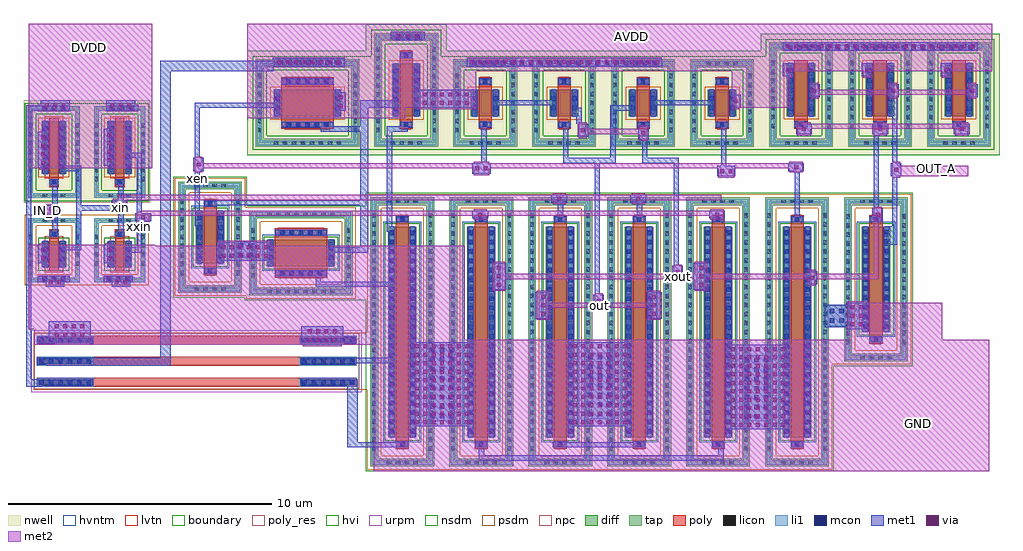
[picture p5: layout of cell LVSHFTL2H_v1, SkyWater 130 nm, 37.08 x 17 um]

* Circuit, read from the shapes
.subckt LVSHFTL2H_v1 AVDD DVDD GND IN_D OUT_A out xen xin xout xxin
XM1 xin IN_D GND GND sky130_fd_pr__nfet_01v8_lvt w=1 l=0.35
XM2 xxin xin GND GND sky130_fd_pr__nfet_01v8_lvt w=1 l=0.35
XM3 GND n1 xen GND sky130_fd_pr__nfet_g5v0d10v5 w=2 l=0.5
XM4 n1 n2 GND GND sky130_fd_pr__nfet_g5v0d10v5 w=1 l=2
XM5 GND n3 n2 GND sky130_fd_pr__nfet_g5v0d10v5 w=8 l=0.5
XM6 xout xxin GND GND sky130_fd_pr__nfet_g5v0d10v5 w=8 l=0.5 m=2
XM7 GND xin out GND sky130_fd_pr__nfet_g5v0d10v5 w=8 l=0.5 m=2
XM8 xout xen GND GND sky130_fd_pr__nfet_g5v0d10v5 w=8 l=0.5
XM9 OUT_A xout GND GND sky130_fd_pr__nfet_g5v0d10v5 w=4 l=0.5
XM10 xin IN_D DVDD DVDD sky130_fd_pr__pfet_01v8_lvt w=2 l=0.35
XM11 xxin xin DVDD DVDD sky130_fd_pr__pfet_01v8_lvt w=2 l=0.35
XM12 AVDD n1 xen AVDD sky130_fd_pr__pfet_g5v0d10v5 w=1 l=2
XM13 AVDD n2 n1 AVDD sky130_fd_pr__pfet_g5v0d10v5 w=2 l=0.5
XM14 n4 xen AVDD AVDD sky130_fd_pr__pfet_g5v0d10v5 w=1 l=0.5
XM15 xout out n4 AVDD sky130_fd_pr__pfet_g5v0d10v5 w=1 l=0.5
XM16 n5 xout out AVDD sky130_fd_pr__pfet_g5v0d10v5 w=1 l=0.5
XM17 AVDD xen n5 AVDD sky130_fd_pr__pfet_g5v0d10v5 w=1 l=0.5
XM18 OUT_A xout AVDD AVDD sky130_fd_pr__pfet_g5v0d10v5 w=2 l=0.5 m=3
XR19 n3 DVDD GND sky130_fd_pr__res_xhigh_po w=0.35 l=7.88
XR20 n2 AVDD GND sky130_fd_pr__res_xhigh_po w=0.35 l=7.88
XR21 GND GND GND sky130_fd_pr__res_xhigh_po w=0.35 l=7.88
.ends

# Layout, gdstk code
from math import pi, radians
import gdstk
lib = gdstk.Library(unit=1e-6, precision=1e-09)
def R(c, l, rs):  # rectangles x0, y0, x1, y1
    for r in rs: c.add(gdstk.rectangle(r[:2], r[2:], *l))
def A(c, l, x, y, w, h, nx, ny, dx, dy):  # array of equal rectangles
    R(c, l, [(x+i*dx, y+j*dy, x+i*dx+w, y+j*dy+h) for i in range(nx) for j in range(ny)])
nwell = (64, 20)
diff = (65, 20)
tap = (65, 44)
poly_res = (66, 13)
poly = (66, 20)
licon = (66, 44)
li1 = (67, 20)
mcon = (67, 44)
met1 = (68, 20)
via = (68, 44)
met2 = (69, 20)
hvi = (75, 20)
urpm = (79, 20)
nsdm = (93, 44)
psdm = (94, 20)
npc = (95, 20)
hvntm = (125, 20)
lvtn = (125, 44)
boundary = (235, 4)

sky130_fd_pr__res_xhigh_ = lib.new_cell('sky130_fd_pr__res_xhigh_po_0p35_RZVHSL')
R(sky130_fd_pr__res_xhigh_, poly_res, [(-0.175,-4,0.175,4)])
R(sky130_fd_pr__res_xhigh_, poly, [(-0.175,-6.08,0.175,6.08)])
R(sky130_fd_pr__res_xhigh_, licon, [(-0.095,-6,0.095,-4), (-0.095,4,0.095,6)])
R(sky130_fd_pr__res_xhigh_, li1, [(-0.175,-6.08,0.175,-3.92), (-0.175,3.92,0.175,6.08)])
A(sky130_fd_pr__res_xhigh_, mcon, -0.085, -5.985, 0.17, 0.17, 1, 6, 0, 0.36)
A(sky130_fd_pr__res_xhigh_, mcon, -0.085, 4.01, 0.17, 0.17, 1, 6, 0, 0.36)
R(sky130_fd_pr__res_xhigh_, met1, [(-0.125,-6.05,0.125,-3.945), (-0.125,3.945,0.125,6.05)])
R(sky130_fd_pr__res_xhigh_, urpm, [(-0.375,-6.28,0.375,6.28)])
R(sky130_fd_pr__res_xhigh_, psdm, [(-0.285,-6.19,0.285,6.19)])
R(sky130_fd_pr__res_xhigh_, npc, [(-0.27,-6.175,0.27,6.175)])

sky130_fd_pr__nfet_01v8_ = lib.new_cell('sky130_fd_pr__nfet_01v8_lvt_6LA82X')
R(sky130_fd_pr__nfet_01v8_, diff, [(-0.465,-0.655,0.465,0.345)])
R(sky130_fd_pr__nfet_01v8_, tap, [(-0.975,-1.215,0.975,-1.045), (-0.975,-1.045,-0.805,1.045), (0.805,-1.045,0.975,1.045), (-0.975,1.045,0.975,1.215)])
R(sky130_fd_pr__nfet_01v8_, poly, [(-0.175,-0.785,0.175,0.785)])
A(sky130_fd_pr__nfet_01v8_, licon, -0.425, -1.215, 0.17, 0.17, 3, 2, 0.34, 2.26)
A(sky130_fd_pr__nfet_01v8_, licon, -0.975, -0.595, 0.17, 0.17, 1, 4, 0, 0.34)
A(sky130_fd_pr__nfet_01v8_, licon, 0.805, -0.595, 0.17, 0.17, 1, 4, 0, 0.34)
A(sky130_fd_pr__nfet_01v8_, licon, -0.405, -0.58, 0.17, 0.17, 1, 3, 0, 0.34)
A(sky130_fd_pr__nfet_01v8_, licon, 0.235, -0.58, 0.17, 0.17, 1, 3, 0, 0.34)
R(sky130_fd_pr__nfet_01v8_, licon, [(-0.085,0.535,0.085,0.705)])
R(sky130_fd_pr__nfet_01v8_, li1, [(-0.975,-1.215,0.975,-1.045), (-0.975,-1.045,-0.805,1.045), (0.805,-1.045,0.975,1.045), (-0.405,-0.675,-0.235,0.365), (0.235,-0.675,0.405,0.365), (-0.175,0.535,0.175,0.705), (-0.975,1.045,0.975,1.215)])
R(sky130_fd_pr__nfet_01v8_, mcon, [(-0.405,-0.42,-0.235,-0.25), (0.235,-0.42,0.405,-0.25), (-0.405,-0.06,-0.235,0.11), (0.235,-0.06,0.405,0.11), (-0.085,0.535,0.085,0.705)])
R(sky130_fd_pr__nfet_01v8_, met1, [(-0.435,-0.655,-0.205,0.345), (0.205,-0.655,0.435,0.345), (-0.155,0.505,0.155,0.735)])
R(sky130_fd_pr__nfet_01v8_, nsdm, [(-0.59,-0.78,0.59,0.47)])
R(sky130_fd_pr__nfet_01v8_, psdm, [(-1.1,-1.34,1.1,-0.92), (-1.1,-0.92,-0.68,0.92), (0.68,-0.92,1.1,0.92), (-1.1,0.92,1.1,1.34)])
R(sky130_fd_pr__nfet_01v8_, npc, [(-0.185,0.435,0.185,0.805)])
R(sky130_fd_pr__nfet_01v8_, lvtn, [(-0.355,-0.835,0.355,0.525)])
R(sky130_fd_pr__nfet_01v8_, boundary, [(-0.89,-1.13,0.89,1.13)])

sky130_fd_pr__nfet_g5v0d = lib.new_cell('sky130_fd_pr__nfet_g5v0d10v5_WSEQJ8')
R(sky130_fd_pr__nfet_g5v0d, diff, [(-0.54,-1,0.54,1)])
R(sky130_fd_pr__nfet_g5v0d, tap, [(-1.21,-2.11,1.21,-1.82), (-1.21,-1.82,-0.92,1.82), (0.92,-1.82,1.21,1.82), (-1.21,1.82,1.21,2.11)])
R(sky130_fd_pr__nfet_g5v0d, poly, [(-0.25,-1.44,0.25,1.44)])
A(sky130_fd_pr__nfet_g5v0d, licon, -0.595, -2.05, 0.17, 0.17, 4, 2, 0.34, 3.93)
A(sky130_fd_pr__nfet_g5v0d, licon, -1.15, -1.445, 0.17, 0.17, 1, 9, 0, 0.34)
A(sky130_fd_pr__nfet_g5v0d, licon, 0.98, -1.445, 0.17, 0.17, 1, 9, 0, 0.34)
A(sky130_fd_pr__nfet_g5v0d, licon, -0.48, -0.935, 0.17, 0.17, 1, 6, 0, 0.34)
A(sky130_fd_pr__nfet_g5v0d, licon, 0.31, -0.935, 0.17, 0.17, 1, 6, 0, 0.34)
R(sky130_fd_pr__nfet_g5v0d, licon, [(-0.085,-1.36,0.085,-1.19), (-0.085,1.19,0.085,1.36)])
R(sky130_fd_pr__nfet_g5v0d, li1, [(-1.15,-2.05,1.15,-1.88), (-1.15,-1.88,-0.98,1.88), (0.98,-1.88,1.15,1.88), (-0.25,-1.36,0.25,-1.19), (-0.48,-1.02,-0.31,1.02), (0.31,-1.02,0.48,1.02), (-0.25,1.19,0.25,1.36), (-1.15,1.88,1.15,2.05)])
A(sky130_fd_pr__nfet_g5v0d, mcon, -0.48, -0.805, 0.17, 0.17, 1, 5, 0, 0.36)
A(sky130_fd_pr__nfet_g5v0d, mcon, 0.31, -0.805, 0.17, 0.17, 1, 5, 0, 0.36)
R(sky130_fd_pr__nfet_g5v0d, mcon, [(-0.085,-1.36,0.085,-1.19), (-0.085,1.19,0.085,1.36)])
R(sky130_fd_pr__nfet_g5v0d, met1, [(-0.23,-1.39,0.23,-1.16), (-0.51,-1,-0.28,1), (0.28,-1,0.51,1), (-0.23,1.16,0.23,1.39)])
R(sky130_fd_pr__nfet_g5v0d, hvi, [(-1.395,-2.295,1.395,2.295)])
R(sky130_fd_pr__nfet_g5v0d, nsdm, [(-0.665,-1.125,0.665,1.125)])
R(sky130_fd_pr__nfet_g5v0d, psdm, [(-1.335,-2.235,1.335,-1.695), (-1.335,-1.695,-0.795,1.695), (0.795,-1.695,1.335,1.695), (-1.335,1.695,1.335,2.235)])
R(sky130_fd_pr__nfet_g5v0d, npc, [(-0.185,-1.46,0.185,-1.09), (-0.185,1.09,0.185,1.46)])
R(sky130_fd_pr__nfet_g5v0d, hvntm, [(-0.725,-1.185,0.725,1.185)])
R(sky130_fd_pr__nfet_g5v0d, boundary, [(-1.06,-1.96,1.06,1.96)])

c_sky130_fd_pr__nfet_g5v0d = lib.new_cell('sky130_fd_pr__nfet_g5v0d10v5_69F5UN')
R(c_sky130_fd_pr__nfet_g5v0d, diff, [(-1.29,-0.5,1.29,0.5)])
R(c_sky130_fd_pr__nfet_g5v0d, tap, [(-1.96,-1.61,1.96,-1.32), (-1.96,-1.32,-1.67,1.32), (1.67,-1.32,1.96,1.32), (-1.96,1.32,1.96,1.61)])
R(c_sky130_fd_pr__nfet_g5v0d, poly, [(-1,-0.94,1,0.94)])
A(c_sky130_fd_pr__nfet_g5v0d, licon, -1.275, -1.55, 0.17, 0.17, 8, 2, 0.34, 2.93)
A(c_sky130_fd_pr__nfet_g5v0d, licon, -1.9, -0.935, 0.17, 0.17, 1, 6, 0, 0.34)
A(c_sky130_fd_pr__nfet_g5v0d, licon, 1.73, -0.935, 0.17, 0.17, 1, 6, 0, 0.34)
A(c_sky130_fd_pr__nfet_g5v0d, licon, -0.765, -0.86, 0.17, 0.17, 5, 2, 0.34, 1.55)
A(c_sky130_fd_pr__nfet_g5v0d, licon, -1.23, -0.425, 0.17, 0.17, 1, 3, 0, 0.34)
A(c_sky130_fd_pr__nfet_g5v0d, licon, 1.06, -0.425, 0.17, 0.17, 1, 3, 0, 0.34)
R(c_sky130_fd_pr__nfet_g5v0d, li1, [(-1.9,-1.55,1.9,-1.38), (-1.9,-1.38,-1.73,1.38), (1.73,-1.38,1.9,1.38), (-1,-0.86,1,-0.69), (-1.23,-0.52,-1.06,0.52), (1.06,-0.52,1.23,0.52), (-1,0.69,1,0.86), (-1.9,1.38,1.9,1.55)])
A(c_sky130_fd_pr__nfet_g5v0d, mcon, -0.805, -0.86, 0.17, 0.17, 5, 2, 0.36, 1.55)
R(c_sky130_fd_pr__nfet_g5v0d, mcon, [(-1.23,-0.265,-1.06,-0.095), (1.06,-0.265,1.23,-0.095), (-1.23,0.095,-1.06,0.265), (1.06,0.095,1.23,0.265)])
R(c_sky130_fd_pr__nfet_g5v0d, met1, [(-0.98,-0.89,0.98,-0.66), (-1.26,-0.5,-1.03,0.5), (1.03,-0.5,1.26,0.5), (-0.98,0.66,0.98,0.89)])
R(c_sky130_fd_pr__nfet_g5v0d, hvi, [(-2.145,-1.795,2.145,1.795)])
R(c_sky130_fd_pr__nfet_g5v0d, nsdm, [(-1.415,-0.625,1.415,0.625)])
R(c_sky130_fd_pr__nfet_g5v0d, psdm, [(-2.085,-1.735,2.085,-1.195), (-2.085,-1.195,-1.545,1.195), (1.545,-1.195,2.085,1.195), (-2.085,1.195,2.085,1.735)])
R(c_sky130_fd_pr__nfet_g5v0d, npc, [(-0.865,-0.96,0.865,-0.59), (-0.865,0.59,0.865,0.96)])
R(c_sky130_fd_pr__nfet_g5v0d, hvntm, [(-1.475,-0.685,1.475,0.685)])
R(c_sky130_fd_pr__nfet_g5v0d, boundary, [(-1.81,-1.46,1.81,1.46)])

sky130_fd_pr__pfet_01v8_ = lib.new_cell('sky130_fd_pr__pfet_01v8_lvt_73FWD3')
R(sky130_fd_pr__pfet_01v8_, nwell, [(-1.155,-1.92,1.155,1.92)])
R(sky130_fd_pr__pfet_01v8_, diff, [(-0.465,-0.82,0.465,1.18)])
R(sky130_fd_pr__pfet_01v8_, tap, [(-0.975,-1.74,0.975,-1.57), (-0.975,-1.57,-0.805,1.57), (0.805,-1.57,0.975,1.57), (-0.975,1.57,0.975,1.74)])
R(sky130_fd_pr__pfet_01v8_, poly, [(-0.175,-1.305,0.175,1.31)])
A(sky130_fd_pr__pfet_01v8_, licon, -0.425, -1.74, 0.17, 0.17, 3, 2, 0.34, 3.31)
A(sky130_fd_pr__pfet_01v8_, licon, -0.975, -1.105, 0.17, 0.17, 1, 7, 0, 0.34)
A(sky130_fd_pr__pfet_01v8_, licon, 0.805, -1.105, 0.17, 0.17, 1, 7, 0, 0.34)
A(sky130_fd_pr__pfet_01v8_, licon, -0.405, -0.755, 0.17, 0.17, 1, 6, 0, 0.34)
A(sky130_fd_pr__pfet_01v8_, licon, 0.235, -0.755, 0.17, 0.17, 1, 6, 0, 0.34)
R(sky130_fd_pr__pfet_01v8_, licon, [(-0.085,-1.225,0.085,-1.055)])
R(sky130_fd_pr__pfet_01v8_, li1, [(-0.975,-1.74,0.975,-1.57), (-0.975,-1.57,-0.805,1.57), (0.805,-1.57,0.975,1.57), (-0.175,-1.225,0.175,-1.055), (-0.405,-0.84,-0.235,1.2), (0.235,-0.84,0.405,1.2), (-0.975,1.57,0.975,1.74)])
A(sky130_fd_pr__pfet_01v8_, mcon, -0.405, -0.625, 0.17, 0.17, 1, 5, 0, 0.36)
A(sky130_fd_pr__pfet_01v8_, mcon, 0.235, -0.625, 0.17, 0.17, 1, 5, 0, 0.36)
R(sky130_fd_pr__pfet_01v8_, mcon, [(-0.085,-1.225,0.085,-1.055)])
R(sky130_fd_pr__pfet_01v8_, met1, [(-0.155,-1.255,0.155,-1.025), (-0.435,-0.82,-0.205,1.18), (0.205,-0.82,0.435,1.18)])
R(sky130_fd_pr__pfet_01v8_, nsdm, [(-1.1,-1.865,1.1,-1.445), (-1.1,-1.445,-0.68,1.445), (0.68,-1.445,1.1,1.445), (-1.1,1.445,1.1,1.865)])
R(sky130_fd_pr__pfet_01v8_, psdm, [(-0.59,-0.945,0.59,1.305)])
R(sky130_fd_pr__pfet_01v8_, npc, [(-0.185,-1.325,0.185,-0.955)])
R(sky130_fd_pr__pfet_01v8_, lvtn, [(-0.355,-1,0.355,1.36)])
R(sky130_fd_pr__pfet_01v8_, boundary, [(-0.89,-1.655,0.89,1.655)])

sky130_fd_pr__pfet_g5v0d = lib.new_cell('sky130_fd_pr__pfet_g5v0d10v5_47NWVV')
R(sky130_fd_pr__pfet_g5v0d, nwell, [(-2.29,-1.985,2.29,1.985)])
R(sky130_fd_pr__pfet_g5v0d, diff, [(-1.29,-0.5,1.29,0.5)])
R(sky130_fd_pr__pfet_g5v0d, tap, [(-1.96,-1.655,1.96,-1.365), (-1.96,-1.365,-1.67,1.365), (1.67,-1.365,1.96,1.365), (-1.96,1.365,1.96,1.655)])
R(sky130_fd_pr__pfet_g5v0d, poly, [(-1,-0.985,1,0.985)])
A(sky130_fd_pr__pfet_g5v0d, licon, -1.275, -1.595, 0.17, 0.17, 8, 2, 0.34, 3.02)
A(sky130_fd_pr__pfet_g5v0d, licon, -1.9, -1.105, 0.17, 0.17, 1, 7, 0, 0.34)
A(sky130_fd_pr__pfet_g5v0d, licon, 1.73, -1.105, 0.17, 0.17, 1, 7, 0, 0.34)
A(sky130_fd_pr__pfet_g5v0d, licon, -0.765, -0.905, 0.17, 0.17, 5, 2, 0.34, 1.64)
A(sky130_fd_pr__pfet_g5v0d, licon, -1.23, -0.425, 0.17, 0.17, 1, 3, 0, 0.34)
A(sky130_fd_pr__pfet_g5v0d, licon, 1.06, -0.425, 0.17, 0.17, 1, 3, 0, 0.34)
R(sky130_fd_pr__pfet_g5v0d, li1, [(-1.9,-1.595,1.9,-1.425), (-1.9,-1.425,-1.73,1.425), (1.73,-1.425,1.9,1.425), (-1,-0.905,1,-0.735), (-1.23,-0.52,-1.06,0.52), (1.06,-0.52,1.23,0.52), (-1,0.735,1,0.905), (-1.9,1.425,1.9,1.595)])
A(sky130_fd_pr__pfet_g5v0d, mcon, -0.805, -0.905, 0.17, 0.17, 5, 2, 0.36, 1.64)
R(sky130_fd_pr__pfet_g5v0d, mcon, [(-1.23,-0.265,-1.06,-0.095), (1.06,-0.265,1.23,-0.095), (-1.23,0.095,-1.06,0.265), (1.06,0.095,1.23,0.265)])
R(sky130_fd_pr__pfet_g5v0d, met1, [(-0.98,-0.935,0.98,-0.705), (-1.26,-0.5,-1.03,0.5), (1.03,-0.5,1.26,0.5), (-0.98,0.705,0.98,0.935)])
R(sky130_fd_pr__pfet_g5v0d, hvi, [(-2.29,-1.985,2.29,1.985)])
R(sky130_fd_pr__pfet_g5v0d, nsdm, [(-2.085,-1.78,2.085,-1.24), (-2.085,-1.24,-1.545,1.24), (1.545,-1.24,2.085,1.24), (-2.085,1.24,2.085,1.78)])
R(sky130_fd_pr__pfet_g5v0d, psdm, [(-1.415,-0.625,1.415,0.625)])
R(sky130_fd_pr__pfet_g5v0d, npc, [(-0.865,-1.005,0.865,-0.635), (-0.865,0.635,0.865,1.005)])
R(sky130_fd_pr__pfet_g5v0d, boundary, [(-1.815,-1.51,1.815,1.51)])

c_sky130_fd_pr__nfet_g5v0d_ = lib.new_cell('sky130_fd_pr__nfet_g5v0d10v5_YNEQJ5')
R(c_sky130_fd_pr__nfet_g5v0d_, diff, [(-0.54,-4,0.54,4)])
R(c_sky130_fd_pr__nfet_g5v0d_, tap, [(-1.21,-5.11,1.21,-4.82), (-1.21,-4.82,-0.92,4.82), (0.92,-4.82,1.21,4.82), (-1.21,4.82,1.21,5.11)])
R(c_sky130_fd_pr__nfet_g5v0d_, poly, [(-0.25,-4.44,0.25,4.44)])
A(c_sky130_fd_pr__nfet_g5v0d_, licon, -0.595, -5.05, 0.17, 0.17, 4, 2, 0.34, 9.93)
A(c_sky130_fd_pr__nfet_g5v0d_, licon, -1.15, -4.505, 0.17, 0.17, 1, 27, 0, 0.34)
A(c_sky130_fd_pr__nfet_g5v0d_, licon, 0.98, -4.505, 0.17, 0.17, 1, 27, 0, 0.34)
A(c_sky130_fd_pr__nfet_g5v0d_, licon, -0.48, -3.825, 0.17, 0.17, 1, 23, 0, 0.34)
A(c_sky130_fd_pr__nfet_g5v0d_, licon, 0.31, -3.825, 0.17, 0.17, 1, 23, 0, 0.34)
R(c_sky130_fd_pr__nfet_g5v0d_, licon, [(-0.085,-4.36,0.085,-4.19), (-0.085,4.19,0.085,4.36)])
R(c_sky130_fd_pr__nfet_g5v0d_, li1, [(-1.15,-5.05,1.15,-4.88), (-1.15,-4.88,-0.98,4.88), (0.98,-4.88,1.15,4.88), (-0.25,-4.36,0.25,-4.19), (-0.48,-4.02,-0.31,4.02), (0.31,-4.02,0.48,4.02), (-0.25,4.19,0.25,4.36), (-1.15,4.88,1.15,5.05)])
A(c_sky130_fd_pr__nfet_g5v0d_, mcon, -0.48, -3.865, 0.17, 0.17, 1, 22, 0, 0.36)
A(c_sky130_fd_pr__nfet_g5v0d_, mcon, 0.31, -3.865, 0.17, 0.17, 1, 22, 0, 0.36)
R(c_sky130_fd_pr__nfet_g5v0d_, mcon, [(-0.085,-4.36,0.085,-4.19), (-0.085,4.19,0.085,4.36)])
R(c_sky130_fd_pr__nfet_g5v0d_, met1, [(-0.23,-4.39,0.23,-4.16), (-0.51,-4,-0.28,4), (0.28,-4,0.51,4), (-0.23,4.16,0.23,4.39)])
R(c_sky130_fd_pr__nfet_g5v0d_, hvi, [(-1.395,-5.295,1.395,5.295)])
R(c_sky130_fd_pr__nfet_g5v0d_, nsdm, [(-0.665,-4.125,0.665,4.125)])
R(c_sky130_fd_pr__nfet_g5v0d_, psdm, [(-1.335,-5.235,1.335,-4.695), (-1.335,-4.695,-0.795,4.695), (0.795,-4.695,1.335,4.695), (-1.335,4.695,1.335,5.235)])
R(c_sky130_fd_pr__nfet_g5v0d_, npc, [(-0.185,-4.46,0.185,-4.09), (-0.185,4.09,0.185,4.46)])
R(c_sky130_fd_pr__nfet_g5v0d_, hvntm, [(-0.725,-4.185,0.725,4.185)])
R(c_sky130_fd_pr__nfet_g5v0d_, boundary, [(-1.06,-4.96,1.06,4.96)])

c_sky130_fd_pr__pfet_g5v0d = lib.new_cell('sky130_fd_pr__pfet_g5v0d10v5_KLD8Y6')
R(c_sky130_fd_pr__pfet_g5v0d, nwell, [(-1.54,-2.485,1.54,2.485)])
R(c_sky130_fd_pr__pfet_g5v0d, diff, [(-0.54,-1,0.54,1)])
R(c_sky130_fd_pr__pfet_g5v0d, tap, [(-1.21,-2.155,1.21,-1.865), (-1.21,-1.865,-0.92,1.865), (0.92,-1.865,1.21,1.865), (-1.21,1.865,1.21,2.155)])
R(c_sky130_fd_pr__pfet_g5v0d, poly, [(-0.25,-1.485,0.25,1.485)])
A(c_sky130_fd_pr__pfet_g5v0d, licon, -0.595, -2.095, 0.17, 0.17, 4, 2, 0.34, 4.02)
A(c_sky130_fd_pr__pfet_g5v0d, licon, -1.15, -1.615, 0.17, 0.17, 1, 10, 0, 0.34)
A(c_sky130_fd_pr__pfet_g5v0d, licon, 0.98, -1.615, 0.17, 0.17, 1, 10, 0, 0.34)
A(c_sky130_fd_pr__pfet_g5v0d, licon, -0.48, -0.935, 0.17, 0.17, 1, 6, 0, 0.34)
A(c_sky130_fd_pr__pfet_g5v0d, licon, 0.31, -0.935, 0.17, 0.17, 1, 6, 0, 0.34)
R(c_sky130_fd_pr__pfet_g5v0d, licon, [(-0.085,-1.405,0.085,-1.235), (-0.085,1.235,0.085,1.405)])
R(c_sky130_fd_pr__pfet_g5v0d, li1, [(-1.15,-2.095,1.15,-1.925), (-1.15,-1.925,-0.98,1.925), (0.98,-1.925,1.15,1.925), (-0.25,-1.405,0.25,-1.235), (-0.48,-1.02,-0.31,1.02), (0.31,-1.02,0.48,1.02), (-0.25,1.235,0.25,1.405), (-1.15,1.925,1.15,2.095)])
A(c_sky130_fd_pr__pfet_g5v0d, mcon, -0.48, -0.805, 0.17, 0.17, 1, 5, 0, 0.36)
A(c_sky130_fd_pr__pfet_g5v0d, mcon, 0.31, -0.805, 0.17, 0.17, 1, 5, 0, 0.36)
R(c_sky130_fd_pr__pfet_g5v0d, mcon, [(-0.085,-1.405,0.085,-1.235), (-0.085,1.235,0.085,1.405)])
R(c_sky130_fd_pr__pfet_g5v0d, met1, [(-0.23,-1.435,0.23,-1.205), (-0.51,-1,-0.28,1), (0.28,-1,0.51,1), (-0.23,1.205,0.23,1.435)])
R(c_sky130_fd_pr__pfet_g5v0d, hvi, [(-1.54,-2.485,1.54,2.485)])
R(c_sky130_fd_pr__pfet_g5v0d, nsdm, [(-1.335,-2.28,1.335,-1.74), (-1.335,-1.74,-0.795,1.74), (0.795,-1.74,1.335,1.74), (-1.335,1.74,1.335,2.28)])
R(c_sky130_fd_pr__pfet_g5v0d, psdm, [(-0.665,-1.125,0.665,1.125)])
R(c_sky130_fd_pr__pfet_g5v0d, npc, [(-0.185,-1.505,0.185,-1.135), (-0.185,1.135,0.185,1.505)])
R(c_sky130_fd_pr__pfet_g5v0d, boundary, [(-1.065,-2.01,1.065,2.01)])

c_sky130_fd_pr__pfet_g5v0d_ = lib.new_cell('sky130_fd_pr__pfet_g5v0d10v5_KLAZY6')
R(c_sky130_fd_pr__pfet_g5v0d_, nwell, [(-1.54,-1.985,1.54,1.985)])
R(c_sky130_fd_pr__pfet_g5v0d_, diff, [(-0.54,-0.5,0.54,0.5)])
R(c_sky130_fd_pr__pfet_g5v0d_, tap, [(-1.21,-1.655,1.21,-1.365), (-1.21,-1.365,-0.92,1.365), (0.92,-1.365,1.21,1.365), (-1.21,1.365,1.21,1.655)])
R(c_sky130_fd_pr__pfet_g5v0d_, poly, [(-0.25,-0.985,0.25,0.985)])
A(c_sky130_fd_pr__pfet_g5v0d_, licon, -0.595, -1.595, 0.17, 0.17, 4, 2, 0.34, 3.02)
A(c_sky130_fd_pr__pfet_g5v0d_, licon, -1.15, -1.105, 0.17, 0.17, 1, 7, 0, 0.34)
A(c_sky130_fd_pr__pfet_g5v0d_, licon, 0.98, -1.105, 0.17, 0.17, 1, 7, 0, 0.34)
A(c_sky130_fd_pr__pfet_g5v0d_, licon, -0.48, -0.425, 0.17, 0.17, 1, 3, 0, 0.34)
A(c_sky130_fd_pr__pfet_g5v0d_, licon, 0.31, -0.425, 0.17, 0.17, 1, 3, 0, 0.34)
R(c_sky130_fd_pr__pfet_g5v0d_, licon, [(-0.085,-0.905,0.085,-0.735), (-0.085,0.735,0.085,0.905)])
R(c_sky130_fd_pr__pfet_g5v0d_, li1, [(-1.15,-1.595,1.15,-1.425), (-1.15,-1.425,-0.98,1.425), (0.98,-1.425,1.15,1.425), (-0.25,-0.905,0.25,-0.735), (-0.48,-0.52,-0.31,0.52), (0.31,-0.52,0.48,0.52), (-0.25,0.735,0.25,0.905), (-1.15,1.425,1.15,1.595)])
R(c_sky130_fd_pr__pfet_g5v0d_, mcon, [(-0.085,-0.905,0.085,-0.735), (-0.48,-0.265,-0.31,-0.095), (0.31,-0.265,0.48,-0.095), (-0.48,0.095,-0.31,0.265), (0.31,0.095,0.48,0.265), (-0.085,0.735,0.085,0.905)])
R(c_sky130_fd_pr__pfet_g5v0d_, met1, [(-0.23,-0.935,0.23,-0.705), (-0.51,-0.5,-0.28,0.5), (0.28,-0.5,0.51,0.5), (-0.23,0.705,0.23,0.935)])
R(c_sky130_fd_pr__pfet_g5v0d_, hvi, [(-1.54,-1.985,1.54,1.985)])
R(c_sky130_fd_pr__pfet_g5v0d_, nsdm, [(-1.335,-1.78,1.335,-1.24), (-1.335,-1.24,-0.795,1.24), (0.795,-1.24,1.335,1.24), (-1.335,1.24,1.335,1.78)])
R(c_sky130_fd_pr__pfet_g5v0d_, psdm, [(-0.665,-0.625,0.665,0.625)])
R(c_sky130_fd_pr__pfet_g5v0d_, npc, [(-0.185,-1.005,0.185,-0.635), (-0.185,0.635,0.185,1.005)])
R(c_sky130_fd_pr__pfet_g5v0d_, boundary, [(-1.065,-1.51,1.065,1.51)])

c_sky130_fd_pr__nfet_g5v0d__ = lib.new_cell('sky130_fd_pr__nfet_g5v0d10v5_MJGQJ3')
R(c_sky130_fd_pr__nfet_g5v0d__, diff, [(-0.54,-2,0.54,2)])
R(c_sky130_fd_pr__nfet_g5v0d__, tap, [(-1.21,-3.11,1.21,-2.82), (-1.21,-2.82,-0.92,2.82), (0.92,-2.82,1.21,2.82), (-1.21,2.82,1.21,3.11)])
R(c_sky130_fd_pr__nfet_g5v0d__, poly, [(-0.25,-2.44,0.25,2.44)])
A(c_sky130_fd_pr__nfet_g5v0d__, licon, -0.595, -3.05, 0.17, 0.17, 4, 2, 0.34, 5.93)
A(c_sky130_fd_pr__nfet_g5v0d__, licon, -1.15, -2.465, 0.17, 0.17, 1, 15, 0, 0.34)
A(c_sky130_fd_pr__nfet_g5v0d__, licon, 0.98, -2.465, 0.17, 0.17, 1, 15, 0, 0.34)
A(c_sky130_fd_pr__nfet_g5v0d__, licon, -0.48, -1.785, 0.17, 0.17, 1, 11, 0, 0.34)
A(c_sky130_fd_pr__nfet_g5v0d__, licon, 0.31, -1.785, 0.17, 0.17, 1, 11, 0, 0.34)
R(c_sky130_fd_pr__nfet_g5v0d__, licon, [(-0.085,-2.36,0.085,-2.19), (-0.085,2.19,0.085,2.36)])
R(c_sky130_fd_pr__nfet_g5v0d__, li1, [(-1.15,-3.05,1.15,-2.88), (-1.15,-2.88,-0.98,2.88), (0.98,-2.88,1.15,2.88), (-0.25,-2.36,0.25,-2.19), (-0.48,-2.02,-0.31,2.02), (0.31,-2.02,0.48,2.02), (-0.25,2.19,0.25,2.36), (-1.15,2.88,1.15,3.05)])
A(c_sky130_fd_pr__nfet_g5v0d__, mcon, -0.48, -1.885, 0.17, 0.17, 1, 11, 0, 0.36)
A(c_sky130_fd_pr__nfet_g5v0d__, mcon, 0.31, -1.885, 0.17, 0.17, 1, 11, 0, 0.36)
R(c_sky130_fd_pr__nfet_g5v0d__, mcon, [(-0.085,-2.36,0.085,-2.19), (-0.085,2.19,0.085,2.36)])
R(c_sky130_fd_pr__nfet_g5v0d__, met1, [(-0.23,-2.39,0.23,-2.16), (-0.51,-2,-0.28,2), (0.28,-2,0.51,2), (-0.23,2.16,0.23,2.39)])
R(c_sky130_fd_pr__nfet_g5v0d__, hvi, [(-1.395,-3.295,1.395,3.295)])
R(c_sky130_fd_pr__nfet_g5v0d__, nsdm, [(-0.665,-2.125,0.665,2.125)])
R(c_sky130_fd_pr__nfet_g5v0d__, psdm, [(-1.335,-3.235,1.335,-2.695), (-1.335,-2.695,-0.795,2.695), (0.795,-2.695,1.335,2.695), (-1.335,2.695,1.335,3.235)])
R(c_sky130_fd_pr__nfet_g5v0d__, npc, [(-0.185,-2.46,0.185,-2.09), (-0.185,2.09,0.185,2.46)])
R(c_sky130_fd_pr__nfet_g5v0d__, hvntm, [(-0.725,-2.185,0.725,2.185)])
R(c_sky130_fd_pr__nfet_g5v0d__, boundary, [(-1.06,-2.96,1.06,2.96)])

c_sky130_fd_pr__pfet_g5v0d__ = lib.new_cell('sky130_fd_pr__pfet_g5v0d10v5_U6Z9Y6')
R(c_sky130_fd_pr__pfet_g5v0d__, nwell, [(-1.54,-2.31,1.54,2.31)])
R(c_sky130_fd_pr__pfet_g5v0d__, diff, [(-0.54,-0.82,0.54,1.18)])
R(c_sky130_fd_pr__pfet_g5v0d__, tap, [(-1.21,-1.98,1.21,-1.69), (-1.21,-1.69,-0.92,1.69), (0.92,-1.69,1.21,1.69), (-1.21,1.69,1.21,1.98)])
R(c_sky130_fd_pr__pfet_g5v0d__, poly, [(-0.25,-1.305,0.25,1.31)])
A(c_sky130_fd_pr__pfet_g5v0d__, licon, -0.595, -1.92, 0.17, 0.17, 4, 2, 0.34, 3.67)
A(c_sky130_fd_pr__pfet_g5v0d__, licon, -1.15, -1.275, 0.17, 0.17, 1, 8, 0, 0.34)
A(c_sky130_fd_pr__pfet_g5v0d__, licon, 0.98, -1.275, 0.17, 0.17, 1, 8, 0, 0.34)
A(c_sky130_fd_pr__pfet_g5v0d__, licon, -0.48, -0.755, 0.17, 0.17, 1, 6, 0, 0.34)
A(c_sky130_fd_pr__pfet_g5v0d__, licon, 0.31, -0.755, 0.17, 0.17, 1, 6, 0, 0.34)
R(c_sky130_fd_pr__pfet_g5v0d__, licon, [(-0.085,-1.225,0.085,-1.055)])
R(c_sky130_fd_pr__pfet_g5v0d__, li1, [(-1.15,-1.92,1.15,-1.75), (-1.15,-1.75,-0.98,1.75), (0.98,-1.75,1.15,1.75), (-0.25,-1.225,0.25,-1.055), (-0.48,-0.84,-0.31,1.2), (0.31,-0.84,0.48,1.2), (-1.15,1.75,1.15,1.92)])
A(c_sky130_fd_pr__pfet_g5v0d__, mcon, -0.48, -0.625, 0.17, 0.17, 1, 5, 0, 0.36)
A(c_sky130_fd_pr__pfet_g5v0d__, mcon, 0.31, -0.625, 0.17, 0.17, 1, 5, 0, 0.36)
R(c_sky130_fd_pr__pfet_g5v0d__, mcon, [(-0.085,-1.225,0.085,-1.055)])
R(c_sky130_fd_pr__pfet_g5v0d__, met1, [(-0.23,-1.255,0.23,-1.025), (-0.51,-0.82,-0.28,1.18), (0.28,-0.82,0.51,1.18)])
R(c_sky130_fd_pr__pfet_g5v0d__, hvi, [(-1.54,-2.31,1.54,2.31)])
R(c_sky130_fd_pr__pfet_g5v0d__, nsdm, [(-1.335,-2.105,1.335,-1.565), (-1.335,-1.565,-0.795,1.565), (0.795,-1.565,1.335,1.565), (-1.335,1.565,1.335,2.105)])
R(c_sky130_fd_pr__pfet_g5v0d__, psdm, [(-0.665,-0.945,0.665,1.305)])
R(c_sky130_fd_pr__pfet_g5v0d__, npc, [(-0.185,-1.325,0.185,-0.955)])
R(c_sky130_fd_pr__pfet_g5v0d__, boundary, [(-1.065,-1.835,1.065,1.835)])

lvshftl2h_v1 = lib.new_cell('LVSHFTL2H_v1')
R(lvshftl2h_v1, nwell, [(-16.5,10.2,-11.7,14.1)])
R(lvshftl2h_v1, li1, [(-1.1,1.9,-0.1,4.8), (10.9,1.9,11.8,4.4), (4.9,2,5.9,4.5), (14,5.5,14.8,6.3), (-15.9,7.2,-14.8,7.4), (-13.4,7.2,-12.4,7.4), (-8.4,8.1,-7.7,8.7), (-15.9,13.7,-14.8,13.9), (-13.3,13.7,-12.2,13.9), (-6.98,15.4,-4.35,15.67), (0.4,15.4,7.7,15.6), (12.4,16,19.7,16.2), (-2.4,16.4,-1.4,16.6)])
A(lvshftl2h_v1, mcon, 10.905, 1.985, 0.17, 0.17, 3, 7, 0.36, 0.36)
A(lvshftl2h_v1, mcon, -1.045, 2.005, 0.17, 0.17, 3, 8, 0.36, 0.36)
A(lvshftl2h_v1, mcon, 4.955, 2.085, 0.17, 0.17, 3, 7, 0.36, 0.36)
A(lvshftl2h_v1, mcon, -15.795, 7.215, 0.17, 0.17, 3, 2, 0.36, 6.5)
A(lvshftl2h_v1, mcon, -13.345, 7.215, 0.17, 0.17, 3, 1, 0.36, 0)
A(lvshftl2h_v1, mcon, -13.195, 13.715, 0.17, 0.17, 3, 1, 0.36, 0)
A(lvshftl2h_v1, mcon, 0.545, 15.415, 0.17, 0.17, 20, 1, 0.36, 0)
A(lvshftl2h_v1, mcon, -6.83, 15.45, 0.17, 0.17, 7, 1, 0.36, 0)
A(lvshftl2h_v1, mcon, 12.545, 16.015, 0.17, 0.17, 20, 1, 0.36, 0)
A(lvshftl2h_v1, mcon, -2.345, 16.415, 0.17, 0.17, 3, 1, 0.36, 0)
R(lvshftl2h_v1, mcon, [(14.135,5.635,14.305,5.805), (14.495,5.635,14.665,5.805), (14.135,5.995,14.305,6.165), (14.495,5.995,14.665,6.165), (-8.315,8.135,-8.145,8.305), (-7.955,8.135,-7.785,8.305), (-8.315,8.495,-8.145,8.665), (-7.955,8.495,-7.785,8.665)])
A(lvshftl2h_v1, met1, 13.35, 14.2, 0.4, 0.5, 3, 1, 3, 0)
A(lvshftl2h_v1, met1, 12.35, 15, 0.4, 0.5, 3, 1, 3, 0)
R(lvshftl2h_v1, met1, [(0.8,0.4,10.1,0.6), (0.8,0.6,1,1), (9.9,0.6,10.1,1.1), (-4.2,0.9,-1.9,1.1), (3.6,0.9,7.1,1.1), (-4.2,1.1,-3.8,3.5), (10.25,1.6,12.55,4.8), (-1.75,1.7,0.55,4.9), (4.25,1.7,6.55,4.9), (-16.4,3.2,-15.8,3.5), (-16.4,3.5,-16.2,13.7), (-15.6,4,-10.9,4.3), (-4.1,4.1,-2.4,4.3), (-11.3,4.3,-10.9,15.2), (-15.3,4.8,-14,5), (-5.95,4.8,-4.35,5.5), (-15.55,5,-14,5.1), (-15.55,5.1,-13.95,5.7), (14.75,5.4,15.55,5.47), (13.94,5.47,15.55,6.33), (2.95,5.8,3.55,6.8), (7.15,5.8,7.75,6.8), (5.15,6.2,5.55,6.7), (14.75,6.33,15.55,6.4), (5.2,6.7,5.4,11.7), (1.25,6.9,1.85,7.9), (8.95,6.9,9.55,7.9), (-15.65,7,-14.95,7.17), (-13.15,7,-12.45,7.17), (-5.4,7,-2.4,7.2), (13.25,7.1,13.65,7.6), (-15.96,7.17,-14.74,7.43), (-13.46,7.17,-12.34,7.43), (-5.4,7.2,-5.2,7.5), (8.15,7.3,8.55,7.8), (8.2,7.8,8.4,11.7), (-15.95,7.9,-15.55,8.6), (-13.45,7.9,-13.05,8.6), (-9.15,8,-7.05,8.7), (-12.6,8.3,-12,8.5), (-4.8,8.3,-3.4,8.5), (-15.1,8.4,-14.3,8.6), (-12.2,8.5,-12,9.5), (-3.7,8.5,-3.4,10.1), (-14.5,8.6,-14.3,9.9), (16.3,8.6,16.7,9.3), (-8.46,8.7,-7.64,8.73), (-15.4,9,-15.2,9.8), (-12.9,9,-12.7,9.9), (-2.7,9.1,-2.5,12.9), (-10,9.3,-9.8,11.4), (16.5,9.3,16.7,11.2), (-12.25,9.5,-11.65,9.8), (3.8,9.5,4,10.2), (6.8,9.5,7,10.2), (15.75,9.5,16.15,10), (0.55,9.6,1.15,9.9), (9.55,9.6,10.15,9.9), (12.8,9.6,13,11.4), (-15.75,9.8,-15.15,10.1), (-12.2,9.8,-12,11.9), (-14.5,9.9,-12.7,10), (-14.5,10,-12.55,10.1), (15.8,10,16,12.8), (-15.4,10.1,-15.2,11), (-14.5,10.1,-14.3,11.4), (-13.15,10.1,-12.55,10.3), (-9.3,10.1,-3.4,10.3), (3.55,10.2,4.15,10.5), (6.55,10.2,7.15,10.5), (-12.9,10.3,-12.7,11), (-3.7,10.3,-3.4,12.9), (9.85,11.2,10.55,11.6), (16.45,11.2,16.85,11.7), (0.55,11.3,1.25,11.7), (-15.1,11.4,-14.3,11.6), (-10.05,11.4,-9.65,11.9), (12.55,11.4,13.15,11.7), (-15.95,11.5,-15.55,12.9), (-13.45,11.6,-13.05,13), (10,11.6,10.2,13.2), (0.9,11.7,1.1,13.3), (4,11.7,6,11.9), (7,11.7,8.4,11.9), (16.5,11.7,16.7,14.2), (-12.6,11.9,-12,12.1), (-10,11.9,-9.8,13.8), (4,11.9,4.2,13.2), (5.8,11.9,6,13.7), (7,11.9,7.2,12.6), (6.85,12.6,7.25,13.1), (4.55,12.7,4.95,13.2), (12.85,12.8,13.45,13.2), (15.75,12.8,16.35,13.2), (18.85,12.8,19.45,13.2), (-5.2,12.9,-3.4,13.1), (-2.7,12.9,-1.9,13.1), (-3.7,13.1,-3.4,13.8), (7,13.1,7.2,13.2), (4.5,13.2,4.7,13.8), (-15.96,13.67,-14.74,13.7), (-13.36,13.67,-12.14,13.93), (-16.4,13.7,-14.74,13.9), (-6.9,13.7,-6.85,13.8), (-4.65,13.7,-4.25,14.4), (5.8,13.7,6.7,13.9), (-10,13.8,-6.8,14), (-3.7,13.8,-2.4,14.1), (-1.55,13.8,0.75,14.3), (10.35,13.8,10.75,14.3), (-15.96,13.9,-14.74,13.93), (1.4,13.9,3.7,14.1), (7.4,13.9,9.7,14.1), (-15.85,13.93,-14.75,14.1), (-13.35,13.93,-12.25,14.1), (-6.9,14,-6.85,14.3), (-1.55,14.3,0.65,14.5), (-11.3,15.2,-7,15.37), (-11.3,15.37,-4.29,15.6), (0.34,15.37,7.76,15.63), (-7.04,15.6,-4.29,15.7), (0.35,15.63,7.75,15.7), (12.34,15.97,19.76,16.23), (12.35,16.23,19.75,16.3), (-2.46,16.37,-1.34,16.4), (-2.55,16.4,-1.25,16.7)])
A(lvshftl2h_v1, via, 10.365, 1.685, 0.15, 0.15, 7, 10, 0.32, 0.32)
A(lvshftl2h_v1, via, -1.635, 1.785, 0.15, 0.15, 7, 10, 0.32, 0.32)
A(lvshftl2h_v1, via, 4.365, 1.785, 0.15, 0.15, 7, 10, 0.32, 0.32)
A(lvshftl2h_v1, via, -5.705, 4.915, 0.15, 0.15, 4, 2, 0.32, 0.32)
A(lvshftl2h_v1, via, -15.305, 5.115, 0.15, 0.15, 4, 2, 0.32, 0.32)
A(lvshftl2h_v1, via, 14.915, 5.505, 0.15, 0.15, 1, 3, 0, 0.32)
A(lvshftl2h_v1, via, 15.235, 5.505, 0.15, 0.15, 1, 3, 0, 0.32)
A(lvshftl2h_v1, via, 3.175, 5.905, 0.15, 0.15, 1, 3, 0, 0.32)
A(lvshftl2h_v1, via, 7.375, 5.905, 0.15, 0.15, 1, 3, 0, 0.32)
A(lvshftl2h_v1, via, 1.475, 7.005, 0.15, 0.15, 1, 3, 0, 0.32)
A(lvshftl2h_v1, via, 9.175, 7.005, 0.15, 0.15, 1, 3, 0, 0.32)
A(lvshftl2h_v1, via, -8.975, 8.115, 0.15, 0.15, 6, 2, 0.32, 0.32)
A(lvshftl2h_v1, via, -15.825, 11.645, 0.15, 0.15, 1, 4, 0, 0.32)
A(lvshftl2h_v1, via, -13.325, 11.745, 0.15, 0.15, 1, 4, 0, 0.32)
A(lvshftl2h_v1, via, -15.695, 13.825, 0.15, 0.15, 3, 1, 0.32, 0)
A(lvshftl2h_v1, via, -13.195, 13.825, 0.15, 0.15, 3, 1, 0.32, 0)
A(lvshftl2h_v1, via, -1.325, 13.915, 0.15, 0.15, 6, 2, 0.32, 0.32)
A(lvshftl2h_v1, via, 13.475, 14.375, 0.15, 0.15, 3, 1, 3, 0)
A(lvshftl2h_v1, via, 12.475, 15.175, 0.15, 0.15, 3, 1, 3, 0)
A(lvshftl2h_v1, via, -6.86, 15.46, 0.15, 0.15, 8, 1, 0.32, 0)
A(lvshftl2h_v1, via, 0.455, 15.475, 0.15, 0.15, 23, 1, 0.32, 0)
A(lvshftl2h_v1, via, 12.455, 16.075, 0.15, 0.15, 23, 1, 0.32, 0)
A(lvshftl2h_v1, via, -2.295, 16.475, 0.15, 0.15, 3, 1, 0.32, 0)
R(lvshftl2h_v1, via, [(5.275,6.375,5.425,6.525), (-15.535,7.125,-15.385,7.275), (-15.215,7.125,-15.065,7.275), (-13.035,7.125,-12.885,7.275), (-12.715,7.125,-12.565,7.275), (13.375,7.275,13.525,7.425), (8.275,7.475,8.425,7.625), (-15.825,8.015,-15.675,8.165), (-13.325,8.015,-13.175,8.165), (-15.825,8.335,-15.675,8.485), (-13.325,8.335,-13.175,8.485), (-12.025,9.575,-11.875,9.725), (0.775,9.675,0.925,9.825), (9.775,9.675,9.925,9.825), (15.875,9.675,16.025,9.825), (-15.525,9.875,-15.375,10.025), (-12.925,10.075,-12.775,10.225), (3.775,10.275,3.925,10.425), (6.775,10.275,6.925,10.425), (9.965,11.325,10.115,11.475), (10.285,11.325,10.435,11.475), (16.575,11.375,16.725,11.525), (0.665,11.425,0.815,11.575), (0.985,11.425,1.135,11.575), (12.775,11.475,12.925,11.625), (-9.925,11.575,-9.775,11.725), (6.975,12.775,7.125,12.925), (4.675,12.875,4.825,13.025), (13.075,12.925,13.225,13.075), (15.975,12.925,16.125,13.075), (19.075,12.925,19.225,13.075), (-4.525,13.815,-4.375,13.965), (10.475,13.975,10.625,14.125), (-4.525,14.135,-4.375,14.285)])
A(lvshftl2h_v1, met2, 13.4, 14.15, 0.3, 0.15, 3, 1, 3, 0)
A(lvshftl2h_v1, met2, 13.4, 14.5, 0.3, 0.25, 3, 1, 3, 0)
R(lvshftl2h_v1, met2, [(-3.2,0,20.2,4.8), (-5.9,4.75,-4.4,4.8), (-16.1,4.8,20.2,5), (-16.1,5,0.27,5.4), (14.8,5,18.4,6.4), (-16.3,5.4,0.27,8.56), (3,5.75,3.5,6.2), (7.2,5.75,7.7,6.2), (5.2,6.15,5.5,6.2), (3,6.2,7.7,6.4), (3,6.4,3.5,6.85), (5.2,6.4,5.5,6.75), (7.2,6.4,7.7,6.85), (14.8,6.4,15.5,6.45), (1.3,6.85,1.8,7.3), (9,6.85,9.5,7.3), (13.3,7.05,13.6,7.3), (8.2,7.25,8.5,7.3), (1.3,7.3,16,7.5), (1.3,7.5,1.8,7.95), (8.2,7.5,8.5,7.85), (9,7.5,9.5,7.95), (13.3,7.5,13.6,7.65), (15.8,7.5,16,9.45), (-16.3,8.56,-11.5,8.6), (-9.1,8.56,-7.1,8.75), (-15.9,8.6,-15.6,8.65), (-13.4,8.6,-13.1,8.65), (-12.2,9.45,-11.7,9.7), (15.8,9.45,16.1,10.05), (0.6,9.55,1.1,9.7), (9.6,9.55,10.1,9.7), (-12.2,9.7,10.1,9.85), (-15.7,9.75,-15.2,10.15), (-12,9.85,10.1,9.9), (0.6,9.9,1.1,9.95), (9.6,9.9,10.1,9.95), (-13.1,9.95,-12.6,10.3), (3.6,10.15,4.1,10.3), (6.6,10.15,7.1,10.3), (-13.1,10.3,10,10.35), (-12.9,10.35,10,10.5), (3.6,10.5,4.1,10.55), (6.6,10.5,7.1,10.55), (9.9,11.15,10.5,11.5), (16.5,11.15,16.8,11.2), (16.5,11.2,19.4,11.6), (0.6,11.25,1.2,11.5), (-10,11.35,-9.7,11.5), (12.6,11.35,13.1,11.5), (-15.9,11.45,-15.6,11.5), (-16.3,11.5,-11.6,17), (-10,11.5,13.1,11.7), (16.5,11.6,16.8,11.75), (-10,11.7,-9.7,11.95), (0.6,11.7,1.2,11.75), (12.6,11.7,13.1,11.75), (6.9,12.55,7.2,12.8), (4.6,12.65,4.9,12.8), (12.9,12.75,13.4,13), (15.8,12.75,16.3,13), (18.9,12.75,19.4,13), (4.6,12.8,7.2,13), (4.6,13,4.9,13.25), (6.9,13,7.2,13.15), (12.9,13,19.4,13.2), (12.9,13.2,13.4,13.25), (15.8,13.2,16.3,13.25), (18.9,13.2,19.4,13.25), (-8,13.4,-2,13.8), (-1.5,13.75,0.7,13.8), (10.4,13.75,10.7,13.8), (-8,13.8,0.7,15.2), (10.4,13.8,12.6,14.95), (13.4,14.3,19.7,14.5), (10.4,14.95,12.7,15.2), (15.4,14.95,15.7,15.2), (18.4,14.95,18.7,15.2), (-8,15.2,20.3,17)])
A(lvshftl2h_v1, hvi, -0.715, -0.005, 0.21, 10.59, 5, 1, 3, 0)
R(lvshftl2h_v1, hvi, [(14.285,3.995,14.495,10.585), (-3.815,6.495,-3.505,10.085)])
R(lvshftl2h_v1, urpm, [(-16.2,3.75,-3.64,3.8), (-16.2,4.55,-3.64,4.6)])
A(lvshftl2h_v1, nsdm, -3.625, 12.205, 0.33, 3.56, 6, 1, 3, 0)
R(lvshftl2h_v1, nsdm, [(-14.245,10.255,-13.945,13.985), (14.375,12.205,14.705,16.415), (17.375,12.205,17.705,16.415)])
A(lvshftl2h_v1, psdm, -0.775, 0.055, 0.33, 10.47, 5, 1, 3, 0)
A(lvshftl2h_v1, psdm, -3.73, 3.09, 0.285, 0.57, 1, 3, 0, 0.8)
R(lvshftl2h_v1, psdm, [(-16.11,3.66,-3.445,3.89), (14.225,4.055,14.555,10.525), (-16.11,4.46,-3.445,4.69), (-8.075,6.655,-8.045,10.025), (-14.245,7.055,-13.945,9.735)])
R(lvshftl2h_v1, npc, [(-16.095,3.645,-3.745,3.905), (-16.095,4.445,-3.745,4.705)])
lvshftl2h_v1.add(gdstk.Reference(sky130_fd_pr__res_xhigh_, (-9.92,4.175), rotation=3*pi/2))
lvshftl2h_v1.add(gdstk.Reference(sky130_fd_pr__res_xhigh_, (-9.92,3.375), rotation=3*pi/2))
lvshftl2h_v1.add(gdstk.Reference(sky130_fd_pr__nfet_01v8_, (-12.845,8.395)))
lvshftl2h_v1.add(gdstk.Reference(sky130_fd_pr__nfet_g5v0d, (-9.41,8.89)))
lvshftl2h_v1.add(gdstk.Reference(c_sky130_fd_pr__nfet_g5v0d, (-5.96,8.29)))
lvshftl2h_v1.add(gdstk.Reference(sky130_fd_pr__res_xhigh_, (-9.92,4.975), rotation=3*pi/2))
lvshftl2h_v1.add(gdstk.Reference(sky130_fd_pr__nfet_01v8_, (-15.345,8.395)))
lvshftl2h_v1.add(gdstk.Reference(sky130_fd_pr__pfet_01v8_, (-15.345,12.12)))
lvshftl2h_v1.add(gdstk.Reference(sky130_fd_pr__pfet_g5v0d, (-5.71,13.985)))
lvshftl2h_v1.add(gdstk.Reference(sky130_fd_pr__pfet_01v8_, (-12.845,12.12)))
lvshftl2h_v1.add(gdstk.Reference(c_sky130_fd_pr__nfet_g5v0d_, (3.89,5.29)))
lvshftl2h_v1.add(gdstk.Reference(c_sky130_fd_pr__nfet_g5v0d_, (6.89,5.29)))
lvshftl2h_v1.add(gdstk.Reference(c_sky130_fd_pr__nfet_g5v0d_, (0.89,5.29)))
lvshftl2h_v1.add(gdstk.Reference(c_sky130_fd_pr__nfet_g5v0d_, (-2.11,5.29)))
lvshftl2h_v1.add(gdstk.Reference(c_sky130_fd_pr__pfet_g5v0d, (-1.96,14.485)))
lvshftl2h_v1.add(gdstk.Reference(c_sky130_fd_pr__pfet_g5v0d_, (7.04,13.985)))
lvshftl2h_v1.add(gdstk.Reference(c_sky130_fd_pr__pfet_g5v0d_, (4.04,13.985)))
lvshftl2h_v1.add(gdstk.Reference(c_sky130_fd_pr__pfet_g5v0d_, (1.04,13.985)))
lvshftl2h_v1.add(gdstk.Reference(c_sky130_fd_pr__nfet_g5v0d_, (9.89,5.29)))
lvshftl2h_v1.add(gdstk.Reference(c_sky130_fd_pr__nfet_g5v0d__, (15.89,7.29)))
lvshftl2h_v1.add(gdstk.Reference(c_sky130_fd_pr__nfet_g5v0d_, (12.89,5.29)))
lvshftl2h_v1.add(gdstk.Reference(c_sky130_fd_pr__pfet_g5v0d__, (13.04,14.31)))
lvshftl2h_v1.add(gdstk.Reference(c_sky130_fd_pr__pfet_g5v0d__, (19.04,14.31)))
lvshftl2h_v1.add(gdstk.Reference(c_sky130_fd_pr__pfet_g5v0d__, (16.04,14.31)))
lvshftl2h_v1.add(gdstk.Reference(c_sky130_fd_pr__pfet_g5v0d_, (10.04,13.985)))
lvshftl2h_v1.add(gdstk.Label('out', (5.4,6.3), layer=69, texttype=5))
lvshftl2h_v1.add(gdstk.Label('xout', (8.4,7.4), layer=69, texttype=5))
lvshftl2h_v1.add(gdstk.Label('xen', (-9.9,11.1), layer=68, texttype=5))
lvshftl2h_v1.add(gdstk.Label('xin', (-12.8,10), layer=68, texttype=5))
lvshftl2h_v1.add(gdstk.Label('xxin', (-12.1,9.3), layer=68, texttype=5))
lvshftl2h_v1.add(gdstk.Label('IN_D', (-15.6,9.9), layer=69, texttype=5))
lvshftl2h_v1.add(gdstk.Label('OUT_A', (18.2,11.5), layer=69, texttype=5))
lvshftl2h_v1.add(gdstk.Label('GND', (17.5,1.8), layer=69, texttype=5))
lvshftl2h_v1.add(gdstk.Label('AVDD', (6.6,16.5), layer=69, texttype=5))
lvshftl2h_v1.add(gdstk.Label('DVDD', (-14,16.1), layer=69, texttype=5))

lib.write_gds('LVSHFTL2H_v1.gds')
